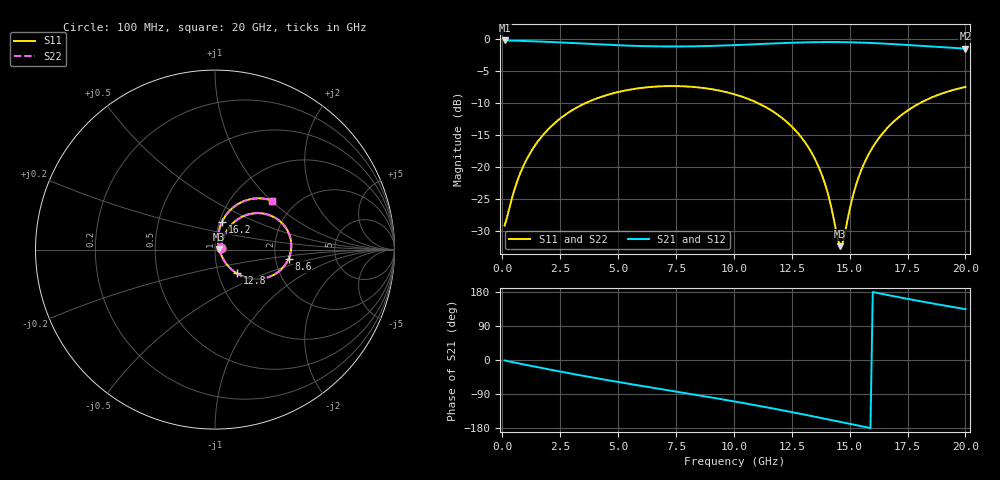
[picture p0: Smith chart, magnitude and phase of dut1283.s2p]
! Touchstone file exported from HFSS 2026.1.0
!  File:  C:/ffzhzh/LocalFiles/Ansys_Project_Files/temp_train_TSV_RDL_1283_1783330717_39728.aedt
!  Generated:  05:47:18 PM Jul  6, 2026
!  Design:  TSV_RDL
!  Project:  temp_train_TSV_RDL_1283_1783330717_39728
! Variables:
!  h_bsmrdl = 2.76um
!  h_ox = 20um
!  h_rdl = 5um
!  h_sub = 55.35um
!  h_tmrdl = 3.14um
!  h_tsv = 55.35um
!  h_via = 3um
!  l_bsmrdl = 135.17um
!  l_sub = 3551.66um
!  l_tmrdl = 667.57um
!  m_sub = 200um
!  pitch = 28.16um
!  r_tsv = 10.75um
!  s_tmrdl = 10um
!  w_bsmrdl = 15.05um
!  w_sub = 500um
!  w_tmrdl = 10.24um
!  x_tsv_center1 = 672.69um
!  x_tsv_center2 = 822.91um
!  x_tsv_center3 = 1500.72um
!  x_tsv_center4 = 1650.94um
!  x_tsv_center5 = 2328.75um
!  x_tsv_center6 = 2478.97um
# GHz S MA R 50.000000
! Terminal data exported
! Port[1] = TM_RDL1_1_T1
! Port[2] = TM_RDL5_1_T1
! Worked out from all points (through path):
!   200 points, 100 MHz to 20 GHz, reference 50 ohm
!   highest |S21| = -0.29 dB at 100 MHz (marker M1); lowest = -1.6 dB at 20 GHz (marker M2)
!   group delay of S21, straight-line fit = 31.1 ps
!   lowest |S11| = -32.4 dB at 14.6 GHz (marker M3), VSWR 1.05, Z = 52.4 + j0.403 ohm
!   |S11| at or under -10 dB: start of sweep to 3.64 GHz; 11 GHz to 18.07 GHz (7.076 GHz wide, 48.7 % of centre)
!   |S22| runs from -32.5 to -7.4 dB; largest |S21 - S12| = 2.3e-14
!   S11 on the Smith chart (normalised r, x): 100 MHz: 1.07, +0.02; 8.6 GHz: 2.37, -0.29; 12.8 GHz: 1.23, -0.34; 16.2 GHz: 1.03, +0.33; 20 GHz: 1.53, +1.01
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0.1  0.0347 17.4  0.9671 -1.3  0.9671 -1.3  0.0347 17.4
! Gamma 0 0 0 0
! Port Impedance 50 0 50 0
0.7  0.082 55.1  0.9612 -8.9  0.9612 -8.9  0.082 55.1
1.3  0.1364 57.8  0.9534 -16.2  0.9534 -16.2  0.1364 57.8
2.3  0.2219 52.0  0.9372 -28.1  0.9372 -28.1  0.2219 52.0
3.5  0.3077 41.3  0.9139 -41.8  0.9139 -41.8  0.3077 41.3
5.1  0.3862 26.0  0.8855 -59.0  0.8855 -59.0  0.3862 26.0
6.8  0.4237 10.0  0.8692 -76.3  0.8692 -76.3  0.4238 10.0
8.6  0.4133 -7.1  0.8727 -94.5  0.8727 -94.5  0.4133 -7.1
10.1  0.3641 -21.6  0.8903 -110.2  0.8903 -110.2  0.3641 -21.6
11.6  0.2763 -36.5  0.9146 -126.9  0.9146 -126.9  0.2763 -36.5
12.8  0.1798 -47.5  0.9316 -141.1  0.9316 -141.1  0.1798 -47.5
13.4  0.1247 -51.1  0.9371 -148.4  0.9371 -148.4  0.1246 -51.2
14  0.06742 -48.6  0.9396 -155.9  0.9396 -155.9  0.06738 -48.8
14.5  0.02676 -12.1  0.9392 -162.1  0.9392 -162.1  0.0266 -12.3
14.6  0.02396 9.2  0.9388 -163.4  0.9388 -163.4  0.02378 9.1
14.7  0.02539 31.9  0.9383 -164.6  0.9383 -164.6  0.02521 32.0
15.1  0.05516 71.7  0.9353 -169.6  0.9353 -169.6  0.05506 71.8
15.4  0.0838 77.2  0.9321 -173.4  0.9321 -173.4  0.08373 77.3
16.2  0.1611 75.8  0.9197 176.8  0.9197 176.8  0.161 75.8
16.7  0.207 71.9  0.9097 170.8  0.9097 170.8  0.2069 71.9
18.1  0.3181 58.7  0.8768 154.6  0.8768 154.6  0.3181 58.7
20  0.4191 40.4  0.8356 134.2  0.8356 134.2  0.4191 40.5
